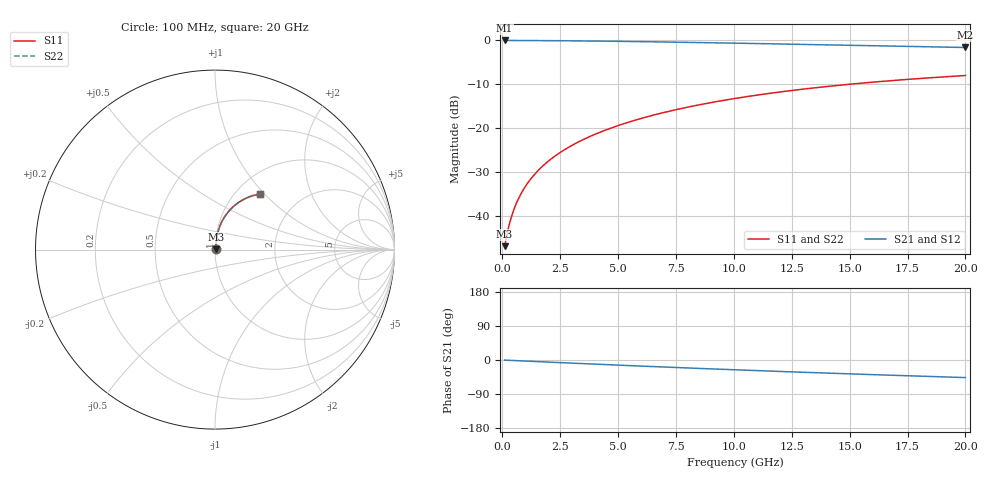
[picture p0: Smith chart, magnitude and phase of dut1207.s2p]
! Touchstone file exported from HFSS 2024.1.0
!  File:  C:/UserFiles/LocalFiles/RDL_TSV_Batchsim/temp_RDL_top_1207_1780239641.aedt
!  Generated:  11:03:19 PM May 31, 2026
!  Design:  RDL_top
!  Project:  temp_RDL_top_1207_1780239641
!  Setup:  Setup1
!  Solution:  Sweep
! Variables:
!  dtsv = 10.80580581um
!  hbump = 3um
!  htsv = 83.93um
!  ldown = 100um
!  lrdl = 682.04um
!  p = 40
!  p1 = 44.88um
!  rhole = 1um
!  t = 450um
!  tdown = 3.915915916um
!  trdl = 3.23um
!  wdown = 15.38538539um
!  wrdl = 19.96um
# GHz S MA R 50.000000
! Terminal data exported
! Port[1] = Box2_T1
! Port[2] = Box2_T2
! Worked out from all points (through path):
!   200 points, 100 MHz to 20 GHz, reference 50 ohm
!   highest |S21| = -0.03 dB at 100 MHz (marker M1); lowest = -1.6 dB at 20 GHz (marker M2)
!   group delay of S21, straight-line fit = 6.42 ps
!   lowest |S11| = -46.8 dB at 100 MHz (marker M3), VSWR 1.01, Z = 50.4 + j0.236 ohm
!   |S11| at or under -10 dB: start of sweep to 14.98 GHz
!   |S22| runs from -46.8 to -8.0 dB; largest |S21 - S12| = 2.5e-15
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0.1  0.004571 30.8  0.9961 -0.3  0.9961 -0.3  0.004571 30.8
! Gamma 0 0 0 0
! Port Impedance 50 0 50 0
0.2  0.00616 48.4  0.9959 -0.6  0.9959 -0.6  0.006161 48.4
0.3  0.00803 57.7  0.9957 -0.9  0.9957 -0.9  0.00803 57.7
0.4  0.009968 63.3  0.9954 -1.1  0.9954 -1.1  0.009969 63.3
0.5  0.01193 67.0  0.9952 -1.4  0.9952 -1.4  0.01193 67.0
0.6  0.01389 69.8  0.995 -1.7  0.995 -1.7  0.01389 69.8
0.8  0.01787 73.5  0.9946 -2.3  0.9946 -2.3  0.01787 73.5
1.1  0.02392 76.8  0.9939 -3.1  0.9939 -3.1  0.02392 76.8
1.3  0.02801 78.2  0.9935 -3.6  0.9935 -3.6  0.02801 78.2
1.6  0.0342 79.6  0.9926 -4.5  0.9926 -4.5  0.0342 79.6
2.1  0.04465 80.8  0.9909 -5.8  0.9909 -5.8  0.04464 80.8
2.7  0.05734 81.4  0.9883 -7.5  0.9883 -7.5  0.05734 81.4
3.5  0.0745 81.3  0.984 -9.6  0.984 -9.6  0.07449 81.3
4.2  0.08971 80.8  0.9796 -11.5  0.9796 -11.5  0.0897 80.8
5  0.1073 79.9  0.9738 -13.6  0.9738 -13.6  0.1073 79.9
6.8  0.1472 77.2  0.9589 -18.1  0.9589 -18.1  0.1472 77.2
8.4  0.1826 74.3  0.9442 -22.0  0.9442 -22.0  0.1825 74.3
10.1  0.2194 71.0  0.9276 -26.0  0.9276 -26.0  0.2194 71.0
11.7  0.2528 67.7  0.9116 -29.6  0.9116 -29.6  0.2528 67.7
13.4  0.2866 64.2  0.8943 -33.3  0.8943 -33.3  0.2866 64.2
16.7  0.3464 57.5  0.8609 -40.0  0.8609 -40.0  0.3463 57.5
20  0.3978 51.1  0.8285 -46.4  0.8285 -46.4  0.3978 51.1
